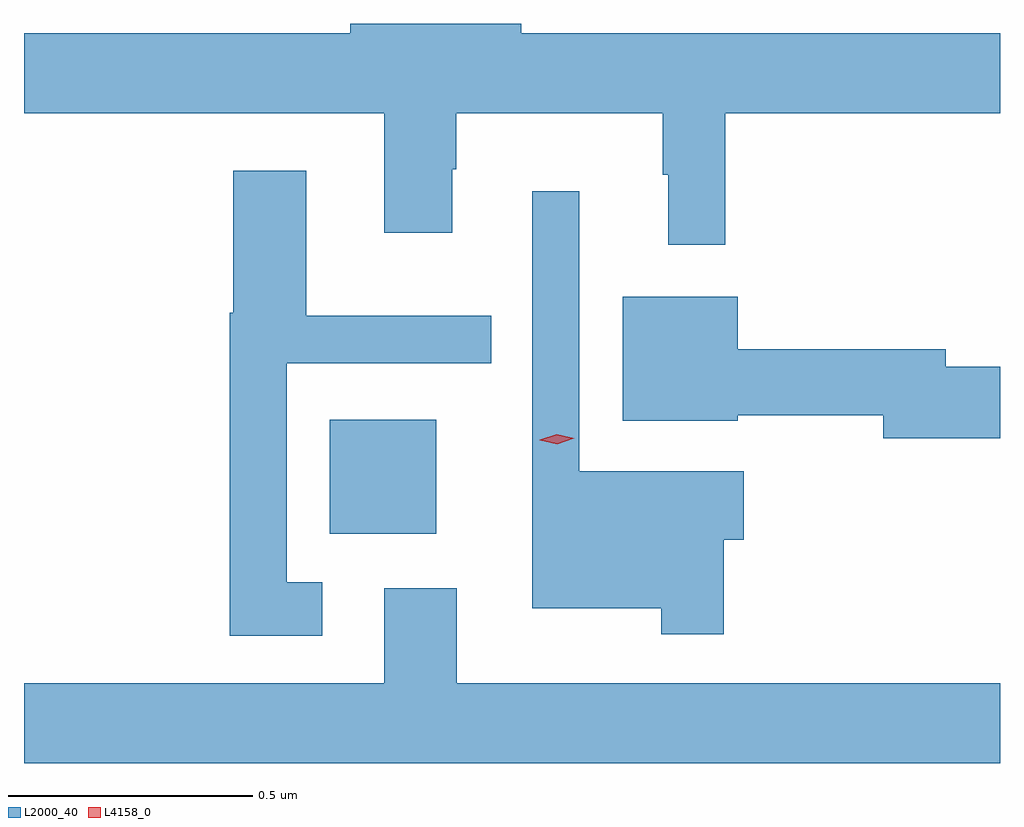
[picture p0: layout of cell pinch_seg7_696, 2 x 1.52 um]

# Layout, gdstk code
import gdstk
lib = gdstk.Library(unit=1e-6, precision=1e-09)
def R(c, l, rs):  # rectangles x0, y0, x1, y1
    for r in rs: c.add(gdstk.rectangle(r[:2], r[2:], *l))
def P(c, l, *ps):  # polygons
    for p in ps: c.add(gdstk.Polygon(p, *l))
L2000_40 = (2000, 40)
L4158_0 = (4158, 0)

pinch_seg7_696 = lib.new_cell('pinch_seg7_696')
R(pinch_seg7_696, L2000_40, [(175.532,1005.083,175.75,1005.316)])
P(pinch_seg7_696, L2000_40, [(176.342,1005.944),(176.905,1005.944),(176.905,1006.108),(175.924,1006.108),(175.924,1006.128),(175.574,1006.128),(175.574,1006.108),(174.905,1006.108),(174.905,1005.944),(175.643,1005.944),(175.643,1005.699),(175.783,1005.699),(175.783,1005.83),(175.791,1005.83),(175.791,1005.944),(176.214,1005.944),(176.214,1005.818),(176.225,1005.818),(176.225,1005.675),(176.342,1005.675)],
  [(175.516,1004.983),(175.443,1004.983),(175.443,1005.432),(175.862,1005.432),(175.862,1005.529),(175.483,1005.529),(175.483,1005.826),(175.334,1005.826),(175.334,1005.535),(175.327,1005.535),(175.327,1004.874),(175.516,1004.874)],
  [(176.339,1005.07),(176.38,1005.07),(176.38,1005.211),(176.043,1005.211),(176.043,1005.784),(175.947,1005.784),(175.947,1005.307),(175.946,1005.307),(175.946,1004.93),(176.211,1004.93),(176.211,1004.877),(176.339,1004.877)],
  [(176.905,1005.425),(176.794,1005.425),(176.794,1005.461),(176.368,1005.461),(176.368,1005.568),(176.132,1005.568),(176.132,1005.314),(176.368,1005.314),(176.368,1005.325),(176.666,1005.325),(176.666,1005.278),(176.905,1005.278)],
  [(176.905,1004.776),(175.792,1004.776),(175.792,1004.971),(175.643,1004.971),(175.643,1004.776),(174.905,1004.776),(174.905,1004.612),(176.905,1004.612)])
P(pinch_seg7_696, L4158_0, [(175.998,1005.266),(175.962,1005.274),(175.962,1005.275),(175.962,1005.275),(175.997,1005.286),(176.033,1005.278),(176.033,1005.278),(176.033,1005.278)])

lib.write_gds('pinch_seg7_696.gds')
